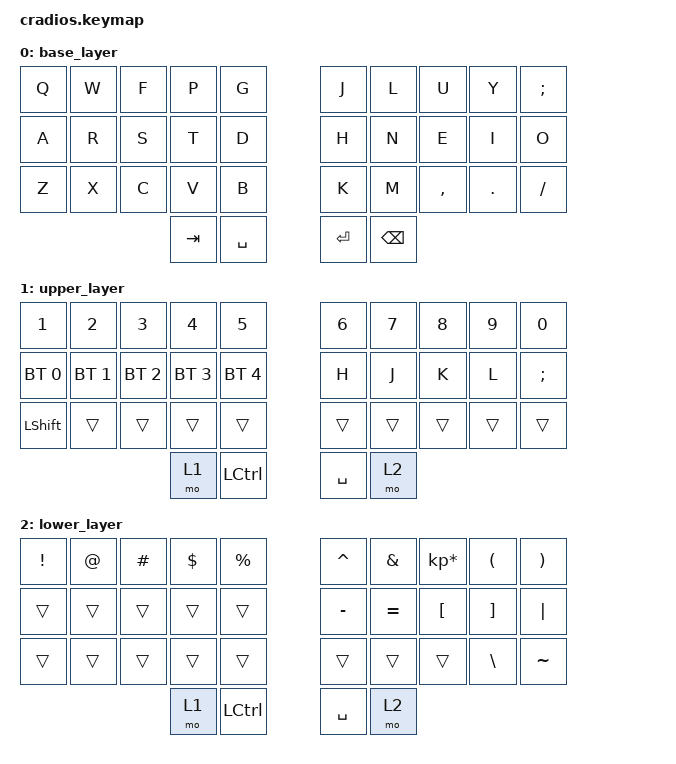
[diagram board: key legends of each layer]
/*
 * Copyright (c) 2020 The ZMK Contributors
 *
 * SPDX-License-Identifier: MIT
 */

#include <behaviors.dtsi>
#include <dt-bindings/zmk/keys.h>
#include <dt-bindings/zmk/bt.h>


/ {
        keymap {
                compatible = "zmk,keymap";

       base_layer {
        bindings = <
    &kp Q       &kp W       &kp F       &kp P       &kp G           &kp J       &kp L       &kp U       &kp Y       &kp SEMI
    &kp A       &kp R       &kp S       &kp T       &kp D           &kp H       &kp N       &kp E       &kp I       &kp O
    &kp Z       &kp X       &kp C       &kp V       &kp B           &kp K       &kp M       &kp COMMA   &kp DOT     &kp FSLH
                                        &kp TAB     &kp SPACE       &kp RET     &kp BSPC 
        >;
        };

       upper_layer {
        bindings = <
        &kp N1       &kp N2       &kp N3       &kp N4       &kp N5          &kp N6 &kp N7 &kp N8 &kp N9 &kp N0
        &bt BT_SEL 0 &bt BT_SEL 1 &bt BT_SEL 2 &bt BT_SEL 3 &bt BT_SEL 4    &kp H  &kp J  &kp K  &kp L  &kp SEMI
        &kp LSHFT    &trans       &trans       &trans       &trans          &trans &trans &trans &trans &trans
             &mo 1 &kp LCTRL        &kp SPACE  &mo 2
        >;
        };

    lower_layer {
        bindings = <
        &kp EXCL  &kp AT  &kp HASH  &kp DOLLAR &kp PRCNT   &kp CARET &kp AMPS  &kp KP_MULTIPLY &kp LPAR &kp RPAR
        &trans    &trans  &trans    &trans     &trans      &kp MINUS &kp EQUAL &kp LBKT        &kp RBKT &kp PIPE
        &trans    &trans  &trans    &trans     &trans      &trans    &trans    &trans          &kp BSLH &kp TILDE
             &mo 1 &kp LCTRL        &kp SPACE  &mo 2
        >;
        };

    };
};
